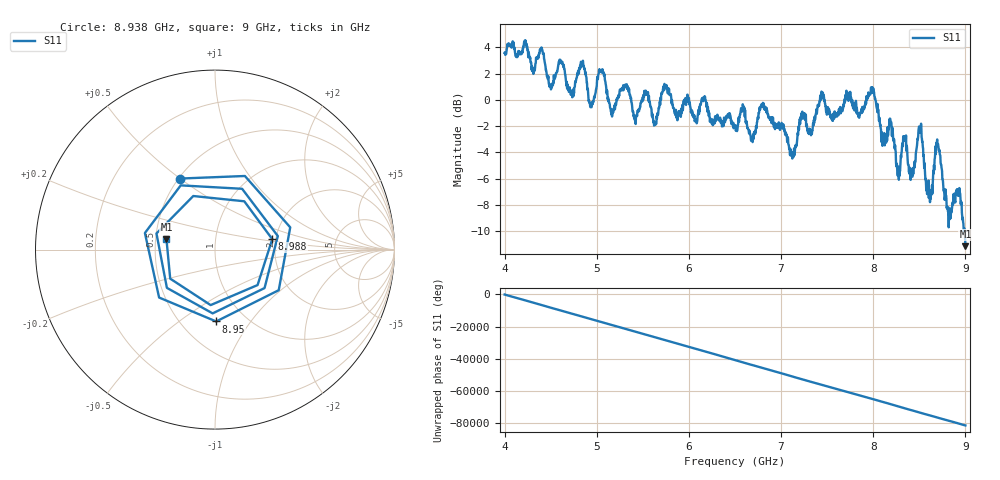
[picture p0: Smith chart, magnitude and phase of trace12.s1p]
! Created with skrf 1.8.0 (http://scikit-rf.org).
# Hz S RI R 50.0
!freq ReS11 ImS11
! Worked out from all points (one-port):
!   1601 points, 4 GHz to 9 GHz, reference 50 ohm
!   lowest |S11| = -11.1 dB at 9 GHz (marker M1), VSWR 1.77, Z = 28.5 + j3.68 ohm
!   |S11| at or under -10 dB: 8.983395 GHz to 8.984621 GHz (1.226 MHz wide, 0.0136 % of centre); 8.989536 GHz to end of sweep
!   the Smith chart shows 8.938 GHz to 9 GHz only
!   S11 on the Smith chart (normalised r, x): 8.938 GHz: 0.51, +0.50; 8.95 GHz: 0.73, -0.70; 8.988 GHz: 1.92, +0.25; 9 GHz: 0.57, +0.07
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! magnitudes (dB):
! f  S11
! 4 GHz  3.6
! 4.4 GHz  4.0
! 4.503 GHz  0.8
! 4.625 GHz  2.9
! 4.722 GHz  0.6
! 4.85 GHz  3.0
! 4.938 GHz  -0.5
! 5.041 GHz  2.2
! 5.162 GHz  -0.7
! 5.25 GHz  0.7
! 5.875 GHz  -1.6
! 6.5 GHz  -2.1
! 6.809 GHz  -0.3
! 7.125 GHz  -4.1
! 7.441 GHz  0.6
! 7.75 GHz  0.6
! 7.997 GHz  0.7
! 8.272 GHz  -5.1
! 8.375 GHz  -4.8
! 8.428 GHz  -5.2
! 8.509 GHz  -2.3
! 8.6 GHz  -6.1
! 8.697 GHz  -3.5
! 8.822 GHz  -8.6
! 8.938 GHz  -7.1
! 8.95 GHz  -8.0
! 8.988 GHz  -9.8
! 9 GHz  -11.1
